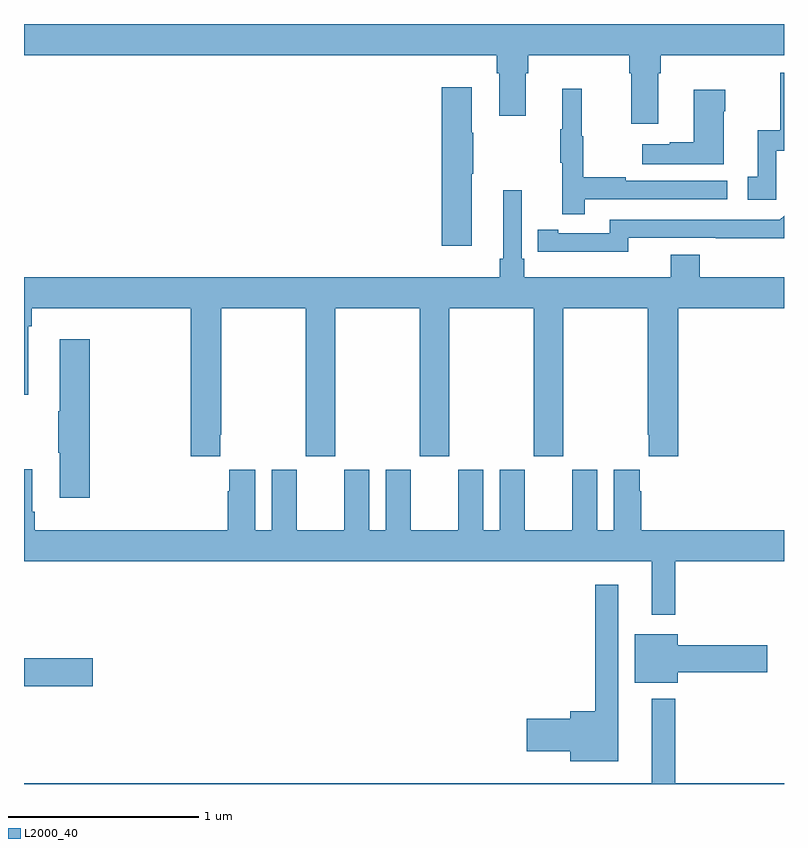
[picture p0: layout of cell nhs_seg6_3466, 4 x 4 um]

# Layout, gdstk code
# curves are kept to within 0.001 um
import gdstk
lib = gdstk.Library(unit=1e-6, precision=1e-09)
def R(c, l, rs):  # rectangles x0, y0, x1, y1
    for r in rs: c.add(gdstk.rectangle(r[:2], r[2:], *l))
def P(c, l, *ps):  # polygons
    for p in ps: c.add(gdstk.Polygon(p, *l))
L2000_40 = (2000, 40)

nhs_seg6_3466 = lib.new_cell('nhs_seg6_3466')
R(nhs_seg6_3466, L2000_40, [(315,944.015,315.361,944.162)])
P(nhs_seg6_3466, L2000_40, [(318.337,947.24),(318.35,947.24),(318.35,947.336),(319,947.336),(319,947.5),(315,947.5),(315,947.336),(317.489,947.336),(317.489,947.24),(317.501,947.24),(317.501,947.016),(317.641,947.016),(317.641,947.24),(317.654,947.24),(317.654,947.336),(318.185,947.336),(318.185,947.24),(318.197,947.24),(318.197,946.974),(318.337,946.974)],
  [(318.96,946.833),(319,946.833),(319,947.244),(318.981,947.244),(318.981,946.942),(318.863,946.942),(318.863,946.695),(318.81,946.695),(318.81,946.575),(318.96,946.575)],
  [(317.356,946.711),(317.364,946.711),(317.364,946.928),(317.356,946.928),(317.356,947.167),(317.198,947.167),(317.198,946.332),(317.356,946.332)],
  [(317.951,946.578),(318.7,946.578),(318.7,946.674),(318.167,946.674),(318.167,946.694),(317.944,946.694),(317.944,946.908),(317.936,946.908),(317.936,947.158),(317.834,947.158),(317.834,946.945),(317.823,946.945),(317.823,946.771),(317.834,946.771),(317.834,946.5),(317.951,946.5)],
  [(318.682,947.042),(318.69,947.042),(318.69,947.155),(318.524,947.155),(318.524,946.877),(318.398,946.877),(318.398,946.867),(318.255,946.867),(318.255,946.763),(318.682,946.763)],
  [(316.033,945.337),(316.038,945.337),(316.038,946.004),(316.483,946.004),(316.483,945.225),(316.638,945.225),(316.638,946.004),(317.083,946.004),(317.083,945.225),(317.238,945.225),(317.238,946.004),(317.683,946.004),(317.683,945.225),(317.838,945.225),(317.838,946.004),(318.283,946.004),(318.283,945.337),(318.287,945.337),(318.287,945.225),(318.443,945.225),(318.443,946.004),(319,946.004),(319,946.168),(318.557,946.168),(318.557,946.285),(318.404,946.285),(318.404,946.168),(317.633,946.168),(317.633,946.264),(317.619,946.264),(317.619,946.624),(317.522,946.624),(317.522,946.264),(317.503,946.264),(317.503,946.168),(315,946.168),(315,945.549),(315.022,945.549),(315.022,945.908),(315.041,945.908),(315.041,946.004),(315.878,946.004),(315.878,945.225),(316.033,945.225)],
  [(318.18,946.374),(319,946.373),(319,946.492),(318.978,946.47),(318.084,946.47),(318.084,946.398),(317.812,946.398),(317.812,946.418),(317.704,946.418),(317.704,946.302),(318.18,946.301)],
  [(315.347,945.841),(315.188,945.841),(315.188,945.461),(315.181,945.461),(315.181,945.244),(315.188,945.244),(315.188,945.006),(315.347,945.006)],
  [(318.427,944.672),(319,944.672),(319,944.836),(318.248,944.836),(318.248,945.041),(318.241,945.041),(318.241,945.154),(318.104,945.154),(318.104,944.836),(318.016,944.836),(318.016,945.154),(317.885,945.154),(317.885,944.836),(317.635,944.836),(317.635,945.154),(317.504,945.154),(317.504,944.836),(317.416,944.836),(317.416,945.154),(317.285,945.154),(317.285,944.836),(317.035,944.836),(317.035,945.154),(316.904,945.154),(316.904,944.836),(316.816,944.836),(316.816,945.154),(316.685,945.154),(316.685,944.836),(316.435,944.836),(316.435,945.154),(316.304,945.154),(316.304,944.836),(316.216,944.836),(316.216,945.154),(316.079,945.154),(316.079,945.041),(316.073,945.041),(316.073,944.836),(315.056,944.836),(315.056,944.932),(315.043,944.932),(315.043,945.157),(315,945.157),(315,944.672),(318.305,944.672),(318.305,944.391),(318.427,944.391)],
  [(318.127,944.548),(318.006,944.548),(318.006,943.882),(317.876,943.882),(317.876,943.844),(317.646,943.844),(317.646,943.673),(317.876,943.673),(317.876,943.619),(318.127,943.619)],
  [(318.442,944.087),(318.913,944.087),(318.913,944.229),(318.442,944.229),(318.442,944.287),(318.215,944.287),(318.215,944.033),(318.442,944.033)],
  [(319,943.504),(318.427,943.504),(318.427,943.948),(318.305,943.948),(318.305,943.504),(315,943.504),(315,943.5),(319,943.5)])

lib.write_gds('nhs_seg6_3466.gds')
